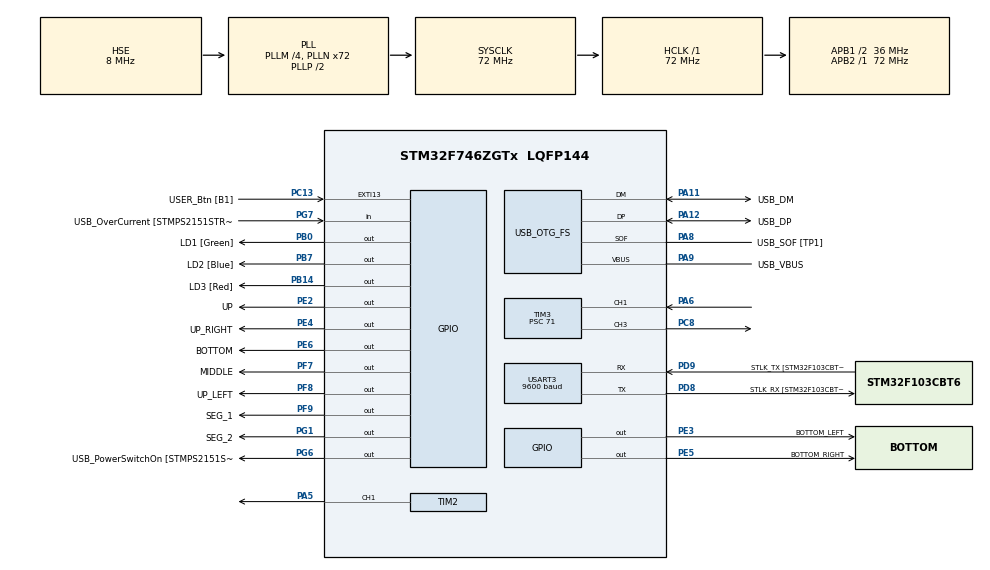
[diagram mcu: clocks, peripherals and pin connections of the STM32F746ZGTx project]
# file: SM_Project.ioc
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Mcu.Family=STM32F7
Mcu.Name=STM32F746ZGTx
Mcu.Package=LQFP144
NVIC.PriorityGroup=NVIC_PRIORITYGROUP_4
NVIC.TIM2_IRQn=true\:0\:0\:false\:false\:true\:true\:true\:true
NVIC.TIM6_DAC_IRQn=true\:0\:0\:false\:false\:true\:true\:true\:true
NVIC.USART3_IRQn=true\:0\:0\:false\:false\:true\:true\:true\:true
PA1.GPIO_Label=RMII_REF_CLK [LAN8742A-CZ-TR_REFCLK0]
PA1.Signal=ETH_REF_CLK
PA10.GPIO_Label=USB_ID
PA10.Signal=USB_OTG_FS_ID
PA11.GPIO_Label=USB_DM
PA11.Mode=Device_Only
PA11.Signal=USB_OTG_FS_DM
PA12.GPIO_Label=USB_DP
PA12.Mode=Device_Only
PA12.Signal=USB_OTG_FS_DP
PA13.GPIO_Label=TMS
PA13.Mode=Serial_Wire
PA13.Signal=SYS_JTMS-SWDIO
PA14.GPIO_Label=TCK
PA14.Mode=Serial_Wire
PA14.Signal=SYS_JTCK-SWCLK
PA2.GPIO_Label=RMII_MDIO [LAN8742A-CZ-TR_MDIO]
PA2.Signal=ETH_MDIO
PA5.Signal=S_TIM2_CH1_ETR
PA6.Signal=S_TIM3_CH1
PA7.GPIO_Label=RMII_CRS_DV [LAN8742A-CZ-TR_CRS_DV]
PA7.Signal=ETH_CRS_DV
PA8.GPIO_Label=USB_SOF [TP1]
PA8.Mode=Activate_SOF_FS
PA8.Signal=USB_OTG_FS_SOF
PA9.GPIO_Label=USB_VBUS
PA9.Mode=Activate_VBUS
PA9.Signal=USB_OTG_FS_VBUS
PB0.GPIO_Label=LD1 [Green]
PB0.Signal=GPIO_Output
PB13.GPIO_Label=RMII_TXD1 [LAN8742A-CZ-TR_TXD1]
PB13.Signal=ETH_TXD1
PB14.GPIO_Label=LD3 [Red]
PB14.Signal=GPIO_Output
PB3.GPIO_Label=SW0
PB3.Signal=SYS_JTDO-SWO
PB7.GPIO_Label=LD2 [Blue]
PB7.Signal=GPIO_Output
PC1.GPIO_Label=RMII_MDC [LAN8742A-CZ-TR_MDC]
PC1.Signal=ETH_MDC
PC13.GPIO_Label=USER_Btn [B1]
PC13.Signal=GPXTI13
PC14/OSC32_IN.Mode=LSE-External-Oscillator
PC14/OSC32_IN.Signal=RCC_OSC32_IN
PC15/OSC32_OUT.Mode=LSE-External-Oscillator
PC15/OSC32_OUT.Signal=RCC_OSC32_OUT
PC4.GPIO_Label=RMII_RXD0 [LAN8742A-CZ-TR_RXD0]
PC4.Signal=ETH_RXD0
PC5.GPIO_Label=RMII_RXD1 [LAN8742A-CZ-TR_RXD1]
PC5.Signal=ETH_RXD1
PC8.Signal=S_TIM3_CH3
PD8.GPIO_Label=STLK_RX [STM32F103CBT6_PA3]
PD8.Mode=Asynchronous
PD8.Signal=USART3_TX
PD9.GPIO_Label=STLK_TX [STM32F103CBT6_PA2]
PD9.Mode=Asynchronous
PD9.Signal=USART3_RX
PE2.GPIO_Label=UP
PE2.Signal=GPIO_Output
PE3.GPIO_Label=BOTTOM_LEFT
PE3.Signal=GPIO_Output
PE4.GPIO_Label=UP_RIGHT
PE4.Signal=GPIO_Output
PE5.GPIO_Label=BOTTOM_RIGHT
PE5.Signal=GPIO_Output
PE6.GPIO_Label=BOTTOM
PE6.Signal=GPIO_Output
PF7.GPIO_Label=MIDDLE
PF7.Signal=GPIO_Output
PF8.GPIO_Label=UP_LEFT
PF8.Signal=GPIO_Output
PF9.GPIO_Label=SEG_1
PF9.GPIO_ModeDefaultOutputPP=GPIO_MODE_OUTPUT_OD
PF9.GPIO_PuPd=GPIO_NOPULL
PF9.PinState=GPIO_PIN_SET
PF9.Signal=GPIO_Output
PG1.GPIO_Label=SEG_2
PG1.GPIO_ModeDefaultOutputPP=GPIO_MODE_OUTPUT_OD
PG1.GPIO_PuPd=GPIO_NOPULL
PG1.PinState=GPIO_PIN_SET
PG1.Signal=GPIO_Output
PG11.GPIO_Label=RMII_TX_EN [LAN8742A-CZ-TR_TXEN]
PG11.Signal=ETH_TX_EN
PG13.GPIO_Label=RMII_TXD0 [LAN8742A-CZ-TR_TXD0]
PG13.Signal=ETH_TXD0
PG6.GPIO_Label=USB_PowerSwitchOn [STMPS2151STR_EN]
PG6.Signal=GPIO_Output
PG7.GPIO_Label=USB_OverCurrent [STMPS2151STR_FAULT]
PG7.Signal=GPIO_Input
PH0/OSC_IN.GPIO_Label=MCO [STM32F103CBT6_PA8]
PH0/OSC_IN.Mode=HSE-External-Clock-Source
PH0/OSC_IN.Signal=RCC_OSC_IN
PH1/OSC_OUT.Mode=HSE-External-Clock-Source
PH1/OSC_OUT.Signal=RCC_OSC_OUT
ProjectManager.HeapSize=0x200
ProjectManager.StackSize=0x400
ProjectManager.TargetToolchain=STM32CubeIDE
RCC.48MHZClocksFreq_Value=24000000
RCC.AHBFreq_Value=72000000
RCC.APB1CLKDivider=RCC_HCLK_DIV2
RCC.APB1Freq_Value=36000000
RCC.APB1TimFreq_Value=72000000
RCC.APB2Freq_Value=72000000
RCC.APB2TimFreq_Value=72000000
RCC.CortexFreq_Value=72000000
RCC.HCLKFreq_Value=72000000
RCC.HSE_VALUE=8000000
RCC.HSI_VALUE=16000000
RCC.PLLM=4
RCC.PLLMUL=RCC_PLL_MUL9
RCC.PLLN=72
RCC.PLLQ=3
RCC.PRESCALERUSB=RCC_USBCLKSOURCE_PLL_DIV1_5
RCC.SYSCLKFreq_VALUE=72000000
RCC.SYSCLKSource=RCC_SYSCLKSOURCE_PLLCLK
RCC.SYSCLKSourceVirtual=RCC_SYSCLKSOURCE_PLLCLK
RCC.USBFreq_Value=48000000
RCC.VCOOutputFreq_Value=144000000
SH.S_TIM2_CH1_ETR.0=TIM2_CH1,PWM Generation1 CH1
SH.S_TIM3_CH1.0=TIM3_CH1,Input_Capture1_from_TI1
SH.S_TIM3_CH3.0=TIM3_CH3,PWM Generation3 CH3
TIM2.AutoReloadPreload=TIM_AUTORELOAD_PRELOAD_DISABLE
TIM2.Channel-PWM\ Generation1\ CH1=TIM_CHANNEL_1
TIM2.Period=1999
TIM2.Prescaler=71
TIM2.Pulse-PWM\ Generation1\ CH1=830
TIM3.Channel-Input_Capture1_from_TI1=TIM_CHANNEL_1
TIM3.Channel-Input_Capture2_from_TI1_63=TIM_CHANNEL_2
TIM3.Channel-PWM\ Generation3\ CH3=TIM_CHANNEL_3
TIM3.ICPolarity_CH1=TIM_INPUTCHANNELPOLARITY_RISING
TIM3.ICPolarity_CH2=TIM_INPUTCHANNELPOLARITY_FALLING
TIM3.Period=9999
TIM3.Prescaler=71
TIM3.Pulse-PWM\ Generation3\ CH3=10
TIM6.AutoReloadPreload=TIM_AUTORELOAD_PRELOAD_ENABLE
TIM6.Period=9999
TIM6.Prescaler=71
USART3.BaudRate=9600
USART3.VirtualMode-Asynchronous=VM_ASYNC
USB_OTG_FS.VirtualMode=Device_Only
VP_TIM2_VS_ClockSourceINT.Mode=Internal
VP_TIM3_VS_ClockSourceINT.Mode=Internal
VP_TIM3_VS_indirect_ch1.Mode=Input_Capture2_from_TI1_63
VP_TIM6_VS_ClockSourceINT.Mode=Enable_Timer
board=NUCLEO-F746ZG

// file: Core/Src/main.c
/* USER CODE BEGIN Header */
/**
  ******************************************************************************
  * @file           : main.c
  * @brief          : Main program body
  ******************************************************************************
  * @attention
  *
  * Copyright (c) 2022 STMicroelectronics.
  * All rights reserved.
  *
  * This software is licensed under terms that can be found in the LICENSE file
  * in the root directory of this software component.
  * If no LICENSE file comes with this software, it is provided AS-IS.
  *
  ******************************************************************************
  */
/* USER CODE END Header */
#include "main.h"

/* USER CODE BEGIN Includes */
#include <stdio.h>
#include <math.h>
/* USER CODE END Includes */

TIM_HandleTypeDef htim2;
TIM_HandleTypeDef htim3;
TIM_HandleTypeDef htim6;

UART_HandleTypeDef huart3;

PCD_HandleTypeDef hpcd_USB_OTG_FS;

/* USER CODE BEGIN PV */
uint16_t choose_digit=1;
uint32_t display_digit=0;
uint8_t rx_data[50];
uint8_t received_data[20];
float integration=0;
float prev_error=0;
float prev_prev_error=0;
float yr=13.0; //wartosc zadana

void HAL_UART_RxCpltCallback(UART_HandleTypeDef *huart)
{
	int yr_pom;
	HAL_UART_Receive_IT(&huart3,received_data,strlen("yr=10"));
	sscanf(received_data, "yr=%d;", &yr_pom);
	if(yr_pom>17)
		{HAL_UART_Transmit_IT(&huart3,(const uint8_t*)"Too far\r",strlen("Too far\r"));}
	else if (yr_pom<8)
		{HAL_UART_Transmit_IT(&huart3,(const uint8_t*)"Too close\r",strlen("Too close\r"));}
	else
		{yr=yr_pom;
		 snprintf(rx_data,20,"New setpoint: %d\r",yr_pom);
		 HAL_UART_Transmit_IT(&huart3,received_data,strlen(received_data));}
}

void seg7_show_digit(uint32_t value)
{
	uint16_t pom=value%10;

	if (pom==1 || pom==4)
	{HAL_GPIO_WritePin(UP_GPIO_Port, UP_Pin, GPIO_PIN_RESET);}
	else
	{HAL_GPIO_WritePin(UP_GPIO_Port, UP_Pin, GPIO_PIN_SET);}
	if (pom==5 || pom==6)
	{HAL_GPIO_WritePin(UP_RIGHT_GPIO_Port, UP_RIGHT_Pin, GPIO_PIN_RESET);}
	else
	{HAL_GPIO_WritePin(UP_RIGHT_GPIO_Port, UP_RIGHT_Pin, GPIO_PIN_SET);}
	if (pom==2)
	{HAL_GPIO_WritePin(BOTTOM_RIGHT_GPIO_Port, BOTTOM_RIGHT_Pin, GPIO_PIN_RESET);}
	else
	{HAL_GPIO_WritePin(BOTTOM_RIGHT_GPIO_Port, BOTTOM_RIGHT_Pin, GPIO_PIN_SET);	}
	if (pom==1 || pom==4 || pom==7)
	{HAL_GPIO_WritePin(BOTTOM_GPIO_Port, BOTTOM_Pin, GPIO_PIN_RESET);}
	else
	{HAL_GPIO_WritePin(BOTTOM_GPIO_Port, BOTTOM_Pin, GPIO_PIN_SET);}
	if (pom==1 || pom==3 || pom==4 || pom==5 || pom==7 || pom==9)
	{HAL_GPIO_WritePin(BOTTOM_LEFT_GPIO_Port, BOTTOM_LEFT_Pin, GPIO_PIN_RESET);}
	else
	{HAL_GPIO_WritePin(BOTTOM_LEFT_GPIO_Port, BOTTOM_LEFT_Pin, GPIO_PIN_SET);}
	if (pom==1 || pom==2 || pom==3 || pom==7)
	{HAL_GPIO_WritePin(UP_LEFT_GPIO_Port, UP_LEFT_Pin, GPIO_PIN_RESET);}
	else
	{HAL_GPIO_WritePin(UP_LEFT_GPIO_Port, UP_LEFT_Pin, GPIO_PIN_SET);}
	if (pom==0 || pom==1 || pom==7)
	{HAL_GPIO_WritePin(MIDDLE_GPIO_Port, MIDDLE_Pin, GPIO_PIN_RESET);}
	else
	{HAL_GPIO_WritePin(MIDDLE_GPIO_Port, MIDDLE_Pin, GPIO_PIN_SET);}
}

void HAL_TIM_PeriodElapsedCallback(TIM_HandleTypeDef *htim)
{
	if(htim==&htim6)
	{
		seg7_show_digit(display_digit/choose_digit);
		switch (choose_digit)
		{
		case 1:
			HAL_GPIO_WritePin(SEG_1_GPIO_Port, SEG_1_Pin, GPIO_PIN_RESET);
			HAL_GPIO_WritePin(SEG_2_GPIO_Port, SEG_2_Pin, GPIO_PIN_SET);
			choose_digit=10;
			break;
		case 10:
			HAL_GPIO_WritePin(SEG_1_GPIO_Port, SEG_1_Pin, GPIO_PIN_SET);
			HAL_GPIO_WritePin(SEG_2_GPIO_Port, SEG_2_Pin, GPIO_PIN_RESET);
			choose_digit=1;
			break;
		}
	}
}

int Regulator(float Kp, float Ki, float Kd, float val_now, float set_point,float dt)
{
	float error_now=set_point-val_now;
	//czesc proporcjonalna
	if ((prev_error-prev_prev_error)>0 && val_now<3)
	{
		error_now=prev_error;
	}
	float roznica_bledow=error_now-prev_error;
	if(roznica_bledow>20 || roznica_bledow<-20) //zabezpieczenie przed blednym odczytem z czujnika
	{
		error_now=prev_error;
	}
	//czesc calkujaca
	float new_integration=integration+(error_now+prev_error)*dt/2;
	integration=new_integration;
	//czesc rozniczkujaca
	float derivative=(error_now-prev_error)/dt;
	prev_prev_error=prev_error;
	prev_error=error_now;
	int u_pid=(int)(Kp*error_now+Ki*new_integration+Kd*derivative);
	return u_pid;
}
/* USER CODE END PV */

void SystemClock_Config(void);
static void MX_GPIO_Init(void);
static void MX_USART3_UART_Init(void);
static void MX_USB_OTG_FS_PCD_Init(void);
static void MX_TIM3_Init(void);
static void MX_TIM6_Init(void);
static void MX_TIM2_Init(void);

int main(void)
{

  /* MCU Configuration--------------------------------------------------------*/

  /* Reset of all peripherals, Initializes the Flash interface and the Systick. */
  HAL_Init();

  /* Configure the system clock */
  SystemClock_Config();

  /* Initialize all configured peripherals */
  MX_GPIO_Init();
  MX_USART3_UART_Init();
  MX_USB_OTG_FS_PCD_Init();
  MX_TIM3_Init();
  MX_TIM6_Init();
  MX_TIM2_Init();
  /* USER CODE BEGIN 2 */

  HAL_TIM_IC_Start(&htim3, TIM_CHANNEL_1);
  HAL_TIM_IC_Start(&htim3, TIM_CHANNEL_2);
  HAL_TIM_PWM_Start(&htim3, TIM_CHANNEL_3);
  HAL_TIM_PWM_Start(&htim2, TIM_CHANNEL_1);
  HAL_UART_Receive_IT(&huart3,received_data, 5);
  HAL_Delay(1000);
  HAL_TIM_Base_Start_IT(&htim6);
  uint8_t flaga=0;
  float kp=1; //wzmocnienie członu proporcjonalnego
  float kd=0.15; //wzmocnienie członu różniczkującego
  float ki=0.2; //wzmocnienie członu całkującego
  float avg_pom=0.0;
  float e_pom=0.0;
  float dziel=0.0;
  int setangle=0; //wypełnienie PWM serwo
  /* USER CODE END 2 */

  /* Infinite loop */
  /* USER CODE BEGIN WHILE */

  while (1)
  {
	  uint32_t start = HAL_TIM_ReadCapturedValue(&htim3, TIM_CHANNEL_1); //poczatek sygnalu zwracanego przez czujnik
	  uint32_t stop = HAL_TIM_ReadCapturedValue(&htim3, TIM_CHANNEL_2); //zakonczenie sygnalu zwracanego przez czujnik
//	  uint32_t value=(stop-start)/58;
	  float float_value=(float)(stop-start)/58.0; //obliczenie odleglosci
	  //snprintf(rx_data,15,"%.2f \r",float_value);
	  //HAL_UART_Transmit_IT(&huart3,rx_data,strlen(rx_data));
	  //display_digit=value;
	  HAL_Delay(10);//opoznienie pomiedzy kolejnymi pomiarami
	  if(float_value<40.0) //ten warunek ma na celu odfiltrowanie zbyt duzych wynikow, ktore sa bledne i zaklocalyby pomiary
	  {avg_pom+=float_value;
		  dziel+=1.0;
//		  snprintf(rx_data,15,"%.2f \r",float_value);
//		  HAL_UART_Transmit_IT(&huart3,rx_data,strlen(rx_data));}
	  flaga+=1;
	  if (flaga==9)
	  {	  if(dziel>0.0)
		  {
		  e_pom=avg_pom/dziel;//obliczanie sredniej z pomiarow z ostatnich 100ms
		  avg_pom=0.0;
		  dziel=0.0;
		  }
		  setangle=10*(Regulator(kp,ki,kd,e_pom,yr,0.1))+830;//obliczenie wypelnienia PWM serwomechanizmu
		  if(setangle>1200) //ograniczenie maksymalnego wychylenia
		  {setangle=1200;}
		  else if(setangle<450)
		  {setangle=450;}
		  __HAL_TIM_SET_COMPARE(&htim2,TIM_CHANNEL_1,setangle); //przypisanie wypelnienia PWM
		  snprintf(rx_data,15,"%.1f \r",e_pom);
		  HAL_UART_Transmit_IT(&huart3,rx_data,strlen(rx_data));//przeslanie po UART sredniej z pomiarow
		  e_pom=roundf(e_pom);//zaokraglenie sredniej z pomiarow
		  flaga=0;
		  display_digit=e_pom;//przypisanie sredniego pomiaru do liczby wyswietlanej na czujniku
		  HAL_Delay(10); //opoznienie, ktore ma na celu eliminacje zakloconych pomiarow podczas obrotu
	  }
    /* USER CODE END WHILE */
  }
}
}
void SystemClock_Config(void)
{
  RCC_OscInitTypeDef RCC_OscInitStruct = {0};
  RCC_ClkInitTypeDef RCC_ClkInitStruct = {0};

  /** Configure LSE Drive Capability
  */
  HAL_PWR_EnableBkUpAccess();

  /** Configure the main internal regulator output voltage
  */
  __HAL_RCC_PWR_CLK_ENABLE();
  __HAL_PWR_VOLTAGESCALING_CONFIG(PWR_REGULATOR_VOLTAGE_SCALE3);

  /** Initializes the RCC Oscillators according to the specified parameters
  * in the RCC_OscInitTypeDef structure.
  */
  RCC_OscInitStruct.OscillatorType = RCC_OSCILLATORTYPE_HSE;
  RCC_OscInitStruct.HSEState = RCC_HSE_BYPASS;
  RCC_OscInitStruct.PLL.PLLState = RCC_PLL_ON;
  RCC_OscInitStruct.PLL.PLLSource = RCC_PLLSOURCE_HSE;
  RCC_OscInitStruct.PLL.PLLM = 4;
  RCC_OscInitStruct.PLL.PLLN = 72;
  RCC_OscInitStruct.PLL.PLLP = RCC_PLLP_DIV2;
  RCC_OscInitStruct.PLL.PLLQ = 3;
  if (HAL_RCC_OscConfig(&RCC_OscInitStruct) != HAL_OK)
  {
    Error_Handler();
  }

  /** Initializes the CPU, AHB and APB buses clocks
  */
  RCC_ClkInitStruct.ClockType = RCC_CLOCKTYPE_HCLK|RCC_CLOCKTYPE_SYSCLK
                              |RCC_CLOCKTYPE_PCLK1|RCC_CLOCKTYPE_PCLK2;
  RCC_ClkInitStruct.SYSCLKSource = RCC_SYSCLKSOURCE_PLLCLK;
  RCC_ClkInitStruct.AHBCLKDivider = RCC_SYSCLK_DIV1;
  RCC_ClkInitStruct.APB1CLKDivider = RCC_HCLK_DIV2;
  RCC_ClkInitStruct.APB2CLKDivider = RCC_HCLK_DIV1;

  if (HAL_RCC_ClockConfig(&RCC_ClkInitStruct, FLASH_LATENCY_2) != HAL_OK)
  {
    Error_Handler();
  }
}

static void MX_TIM2_Init(void)
{

  TIM_ClockConfigTypeDef sClockSourceConfig = {0};
  TIM_MasterConfigTypeDef sMasterConfig = {0};
  TIM_OC_InitTypeDef sConfigOC = {0};

  htim2.Instance = TIM2;
  htim2.Init.Prescaler = 71;
  htim2.Init.CounterMode = TIM_COUNTERMODE_UP;
  htim2.Init.Period = 1999;
  htim2.Init.ClockDivision = TIM_CLOCKDIVISION_DIV1;
  htim2.Init.AutoReloadPreload = TIM_AUTORELOAD_PRELOAD_DISABLE;
  if (HAL_TIM_Base_Init(&htim2) != HAL_OK)
  {
    Error_Handler();
  }
  sClockSourceConfig.ClockSource = TIM_CLOCKSOURCE_INTERNAL;
  if (HAL_TIM_ConfigClockSource(&htim2, &sClockSourceConfig) != HAL_OK)
  {
    Error_Handler();
  }
  if (HAL_TIM_PWM_Init(&htim2) != HAL_OK)
  {
    Error_Handler();
  }
  sMasterConfig.MasterOutputTrigger = TIM_TRGO_RESET;
  sMasterConfig.MasterSlaveMode = TIM_MASTERSLAVEMODE_DISABLE;
  if (HAL_TIMEx_MasterConfigSynchronization(&htim2, &sMasterConfig) != HAL_OK)
  {
    Error_Handler();
  }
  sConfigOC.OCMode = TIM_OCMODE_PWM1;
  sConfigOC.Pulse = 830;
  sConfigOC.OCPolarity = TIM_OCPOLARITY_HIGH;
  sConfigOC.OCFastMode = TIM_OCFAST_DISABLE;
  if (HAL_TIM_PWM_ConfigChannel(&htim2, &sConfigOC, TIM_CHANNEL_1) != HAL_OK)
  {
    Error_Handler();
  }
  HAL_TIM_MspPostInit(&htim2);

}

static void MX_TIM3_Init(void)
{

  TIM_ClockConfigTypeDef sClockSourceConfig = {0};
  TIM_MasterConfigTypeDef sMasterConfig = {0};
  TIM_IC_InitTypeDef sConfigIC = {0};
  TIM_OC_InitTypeDef sConfigOC = {0};

  htim3.Instance = TIM3;
  htim3.Init.Prescaler = 71;
  htim3.Init.CounterMode = TIM_COUNTERMODE_UP;
  htim3.Init.Period = 9999;
  htim3.Init.ClockDivision = TIM_CLOCKDIVISION_DIV1;
  htim3.Init.AutoReloadPreload = TIM_AUTORELOAD_PRELOAD_DISABLE;
  if (HAL_TIM_Base_Init(&htim3) != HAL_OK)
  {
    Error_Handler();
  }
  sClockSourceConfig.ClockSource = TIM_CLOCKSOURCE_INTERNAL;
  if (HAL_TIM_ConfigClockSource(&htim3, &sClockSourceConfig) != HAL_OK)
  {
    Error_Handler();
  }
  if (HAL_TIM_IC_Init(&htim3) != HAL_OK)
  {
    Error_Handler();
  }
  if (HAL_TIM_PWM_Init(&htim3) != HAL_OK)
  {
    Error_Handler();
  }
  sMasterConfig.MasterOutputTrigger = TIM_TRGO_RESET;
  sMasterConfig.MasterSlaveMode = TIM_MASTERSLAVEMODE_DISABLE;
  if (HAL_TIMEx_MasterConfigSynchronization(&htim3, &sMasterConfig) != HAL_OK)
  {
    Error_Handler();
  }
  sConfigIC.ICPolarity = TIM_INPUTCHANNELPOLARITY_RISING;
  sConfigIC.ICSelection = TIM_ICSELECTION_DIRECTTI;
  sConfigIC.ICPrescaler = TIM_ICPSC_DIV1;
  sConfigIC.ICFilter = 0;
  if (HAL_TIM_IC_ConfigChannel(&htim3, &sConfigIC, TIM_CHANNEL_1) != HAL_OK)
  {
    Error_Handler();
  }
  sConfigIC.ICPolarity = TIM_INPUTCHANNELPOLARITY_FALLING;
  sConfigIC.ICSelection = TIM_ICSELECTION_INDIRECTTI;
  if (HAL_TIM_IC_ConfigChannel(&htim3, &sConfigIC, TIM_CHANNEL_2) != HAL_OK)
  {
    Error_Handler();
  }
  sConfigOC.OCMode = TIM_OCMODE_PWM1;
  sConfigOC.Pulse = 10;
  sConfigOC.OCPolarity = TIM_OCPOLARITY_HIGH;
  sConfigOC.OCFastMode = TIM_OCFAST_DISABLE;
  if (HAL_TIM_PWM_ConfigChannel(&htim3, &sConfigOC, TIM_CHANNEL_3) != HAL_OK)
  {
    Error_Handler();
  }
  HAL_TIM_MspPostInit(&htim3);

}

static void MX_TIM6_Init(void)
{

  TIM_MasterConfigTypeDef sMasterConfig = {0};

  htim6.Instance = TIM6;
  htim6.Init.Prescaler = 71;
  htim6.Init.CounterMode = TIM_COUNTERMODE_UP;
  htim6.Init.Period = 9999;
  htim6.Init.AutoReloadPreload = TIM_AUTORELOAD_PRELOAD_ENABLE;
  if (HAL_TIM_Base_Init(&htim6) != HAL_OK)
  {
    Error_Handler();
  }
  sMasterConfig.MasterOutputTrigger = TIM_TRGO_RESET;
  sMasterConfig.MasterSlaveMode = TIM_MASTERSLAVEMODE_DISABLE;
  if (HAL_TIMEx_MasterConfigSynchronization(&htim6, &sMasterConfig) != HAL_OK)
  {
    Error_Handler();
  }

}

static void MX_USART3_UART_Init(void)
{

  huart3.Instance = USART3;
  huart3.Init.BaudRate = 9600;
  huart3.Init.WordLength = UART_WORDLENGTH_8B;
  huart3.Init.StopBits = UART_STOPBITS_1;
  huart3.Init.Parity = UART_PARITY_NONE;
  huart3.Init.Mode = UART_MODE_TX_RX;
  huart3.Init.HwFlowCtl = UART_HWCONTROL_NONE;
  huart3.Init.OverSampling = UART_OVERSAMPLING_16;
  huart3.Init.OneBitSampling = UART_ONE_BIT_SAMPLE_DISABLE;
  huart3.AdvancedInit.AdvFeatureInit = UART_ADVFEATURE_NO_INIT;
  if (HAL_UART_Init(&huart3) != HAL_OK)
  {
    Error_Handler();
  }

}

static void MX_USB_OTG_FS_PCD_Init(void)
{

  hpcd_USB_OTG_FS.Instance = USB_OTG_FS;
  hpcd_USB_OTG_FS.Init.dev_endpoints = 6;
  hpcd_USB_OTG_FS.Init.speed = PCD_SPEED_FULL;
  hpcd_USB_OTG_FS.Init.dma_enable = DISABLE;
  hpcd_USB_OTG_FS.Init.phy_itface = PCD_PHY_EMBEDDED;
  hpcd_USB_OTG_FS.Init.Sof_enable = ENABLE;
  hpcd_USB_OTG_FS.Init.low_power_enable = DISABLE;
  hpcd_USB_OTG_FS.Init.lpm_enable = DISABLE;
  hpcd_USB_OTG_FS.Init.vbus_sensing_enable = ENABLE;
  hpcd_USB_OTG_FS.Init.use_dedicated_ep1 = DISABLE;
  if (HAL_PCD_Init(&hpcd_USB_OTG_FS) != HAL_OK)
  {
    Error_Handler();
  }

}

static void MX_GPIO_Init(void)
{
  GPIO_InitTypeDef GPIO_InitStruct = {0};

  /* GPIO Ports Clock Enable */
  __HAL_RCC_GPIOE_CLK_ENABLE();
  __HAL_RCC_GPIOC_CLK_ENABLE();
  __HAL_RCC_GPIOF_CLK_ENABLE();
  __HAL_RCC_GPIOH_CLK_ENABLE();
  __HAL_RCC_GPIOA_CLK_ENABLE();
  __HAL_RCC_GPIOB_CLK_ENABLE();
  __HAL_RCC_GPIOG_CLK_ENABLE();
  __HAL_RCC_GPIOD_CLK_ENABLE();

  /*Configure GPIO pin Output Level */
  HAL_GPIO_WritePin(GPIOE, UP_Pin|BOTTOM_LEFT_Pin|UP_RIGHT_Pin|BOTTOM_RIGHT_Pin
                          |BOTTOM_Pin, GPIO_PIN_RESET);

  /*Configure GPIO pin Output Level */
  HAL_GPIO_WritePin(GPIOF, MIDDLE_Pin|UP_LEFT_Pin, GPIO_PIN_RESET);

  /*Configure GPIO pin Output Level */
  HAL_GPIO_WritePin(SEG_1_GPIO_Port, SEG_1_Pin, GPIO_PIN_SET);

  /*Configure GPIO pin Output Level */
  HAL_GPIO_WritePin(GPIOB, LD1_Pin|LD3_Pin|LD2_Pin, GPIO_PIN_RESET);

  /*Configure GPIO pin Output Level */
  HAL_GPIO_WritePin(SEG_2_GPIO_Port, SEG_2_Pin, GPIO_PIN_SET);

  /*Configure GPIO pin Output Level */
  HAL_GPIO_WritePin(USB_PowerSwitchOn_GPIO_Port, USB_PowerSwitchOn_Pin, GPIO_PIN_RESET);

  /*Configure GPIO pins : UP_Pin BOTTOM_LEFT_Pin UP_RIGHT_Pin BOTTOM_RIGHT_Pin
                           BOTTOM_Pin */
  GPIO_InitStruct.Pin = UP_Pin|BOTTOM_LEFT_Pin|UP_RIGHT_Pin|BOTTOM_RIGHT_Pin
                          |BOTTOM_Pin;
  GPIO_InitStruct.Mode = GPIO_MODE_OUTPUT_PP;
  GPIO_InitStruct.Pull = GPIO_NOPULL;
  GPIO_InitStruct.Speed = GPIO_SPEED_FREQ_LOW;
  HAL_GPIO_Init(GPIOE, &GPIO_InitStruct);

  /*Configure GPIO pin : USER_Btn_Pin */
  GPIO_InitStruct.Pin = USER_Btn_Pin;
  GPIO_InitStruct.Mode = GPIO_MODE_IT_RISING;
  GPIO_InitStruct.Pull = GPIO_NOPULL;
  HAL_GPIO_Init(USER_Btn_GPIO_Port, &GPIO_InitStruct);

  /*Configure GPIO pins : MIDDLE_Pin UP_LEFT_Pin */
  GPIO_InitStruct.Pin = MIDDLE_Pin|UP_LEFT_Pin;
  GPIO_InitStruct.Mode = GPIO_MODE_OUTPUT_PP;
  GPIO_InitStruct.Pull = GPIO_NOPULL;
  GPIO_InitStruct.Speed = GPIO_SPEED_FREQ_LOW;
  HAL_GPIO_Init(GPIOF, &GPIO_InitStruct);

  /*Configure GPIO pin : SEG_1_Pin */
  GPIO_InitStruct.Pin = SEG_1_Pin;
  GPIO_InitStruct.Mode = GPIO_MODE_OUTPUT_OD;
  GPIO_InitStruct.Pull = GPIO_NOPULL;
  GPIO_InitStruct.Speed = GPIO_SPEED_FREQ_LOW;
  HAL_GPIO_Init(SEG_1_GPIO_Port, &GPIO_InitStruct);

  /*Configure GPIO pins : RMII_MDC_Pin RMII_RXD0_Pin RMII_RXD1_Pin */
  GPIO_InitStruct.Pin = RMII_MDC_Pin|RMII_RXD0_Pin|RMII_RXD1_Pin;
  GPIO_InitStruct.Mode = GPIO_MODE_AF_PP;
  GPIO_InitStruct.Pull = GPIO_NOPULL;
  GPIO_InitStruct.Speed = GPIO_SPEED_FREQ_VERY_HIGH;
  GPIO_InitStruct.Alternate = GPIO_AF11_ETH;
  HAL_GPIO_Init(GPIOC, &GPIO_InitStruct);

  /*Configure GPIO pins : RMII_REF_CLK_Pin RMII_MDIO_Pin RMII_CRS_DV_Pin */
  GPIO_InitStruct.Pin = RMII_REF_CLK_Pin|RMII_MDIO_Pin|RMII_CRS_DV_Pin;
  GPIO_InitStruct.Mode = GPIO_MODE_AF_PP;
  GPIO_InitStruct.Pull = GPIO_NOPULL;
  GPIO_InitStruct.Speed = GPIO_SPEED_FREQ_VERY_HIGH;
  GPIO_InitStruct.Alternate = GPIO_AF11_ETH;
  HAL_GPIO_Init(GPIOA, &GPIO_InitStruct);

  /*Configure GPIO pins : LD1_Pin LD3_Pin LD2_Pin */
  GPIO_InitStruct.Pin = LD1_Pin|LD3_Pin|LD2_Pin;
  GPIO_InitStruct.Mode = GPIO_MODE_OUTPUT_PP;
  GPIO_InitStruct.Pull = GPIO_NOPULL;
  GPIO_InitStruct.Speed = GPIO_SPEED_FREQ_LOW;
  HAL_GPIO_Init(GPIOB, &GPIO_InitStruct);

  /*Configure GPIO pin : SEG_2_Pin */
  GPIO_InitStruct.Pin = SEG_2_Pin;
  GPIO_InitStruct.Mode = GPIO_MODE_OUTPUT_OD;
  GPIO_InitStruct.Pull = GPIO_NOPULL;
  GPIO_InitStruct.Speed = GPIO_SPEED_FREQ_LOW;
  HAL_GPIO_Init(SEG_2_GPIO_Port, &GPIO_InitStruct);

  /*Configure GPIO pin : RMII_TXD1_Pin */
  GPIO_InitStruct.Pin = RMII_TXD1_Pin;
  GPIO_InitStruct.Mode = GPIO_MODE_AF_PP;
  GPIO_InitStruct.Pull = GPIO_NOPULL;
  GPIO_InitStruct.Speed = GPIO_SPEED_FREQ_VERY_HIGH;
  GPIO_InitStruct.Alternate = GPIO_AF11_ETH;
  HAL_GPIO_Init(RMII_TXD1_GPIO_Port, &GPIO_InitStruct);

  /*Configure GPIO pin : USB_PowerSwitchOn_Pin */
  GPIO_InitStruct.Pin = USB_PowerSwitchOn_Pin;
  GPIO_InitStruct.Mode = GPIO_MODE_OUTPUT_PP;
  GPIO_InitStruct.Pull = GPIO_NOPULL;
  GPIO_InitStruct.Speed = GPIO_SPEED_FREQ_LOW;
  HAL_GPIO_Init(USB_PowerSwitchOn_GPIO_Port, &GPIO_InitStruct);

  /*Configure GPIO pin : USB_OverCurrent_Pin */
  GPIO_InitStruct.Pin = USB_OverCurrent_Pin;
  GPIO_InitStruct.Mode = GPIO_MODE_INPUT;
  GPIO_InitStruct.Pull = GPIO_NOPULL;
  HAL_GPIO_Init(USB_OverCurrent_GPIO_Port, &GPIO_InitStruct);

  /*Configure GPIO pins : RMII_TX_EN_Pin RMII_TXD0_Pin */
  GPIO_InitStruct.Pin = RMII_TX_EN_Pin|RMII_TXD0_Pin;
  GPIO_InitStruct.Mode = GPIO_MODE_AF_PP;
  GPIO_InitStruct.Pull = GPIO_NOPULL;
  GPIO_InitStruct.Speed = GPIO_SPEED_FREQ_VERY_HIGH;
  GPIO_InitStruct.Alternate = GPIO_AF11_ETH;
  HAL_GPIO_Init(GPIOG, &GPIO_InitStruct);

}

void Error_Handler(void)
{
  __disable_irq();
  while (1)
  {
  }
}
